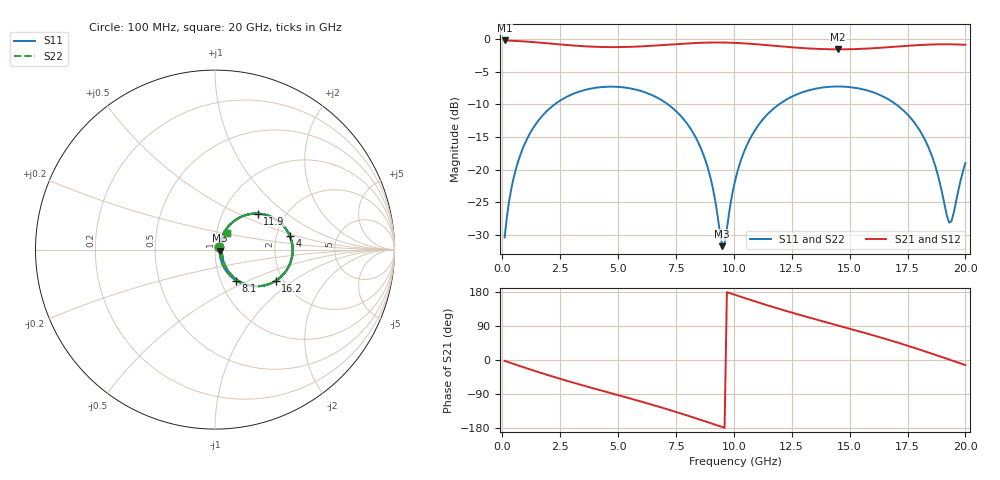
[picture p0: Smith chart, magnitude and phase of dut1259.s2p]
! Touchstone file exported from HFSS 2026.1.0
!  File:  C:/ffzhzh/LocalFiles/Ansys_Project_Files/temp_train_TSV_RDL_1259_1783326795_38820.aedt
!  Generated:  04:46:26 PM Jul  6, 2026
!  Design:  TSV_RDL
!  Project:  temp_train_TSV_RDL_1259_1783326795_38820
! Variables:
!  h_bsmrdl = 5.13um
!  h_ox = 20um
!  h_rdl = 5um
!  h_sub = 83.39um
!  h_tmrdl = 4.64um
!  h_tsv = 83.39um
!  h_via = 3um
!  l_bsmrdl = 974.79um
!  l_sub = 5953.79um
!  l_tmrdl = 631.45um
!  m_sub = 200um
!  pitch = 39.66um
!  r_tsv = 14.66um
!  s_tmrdl = 10um
!  w_bsmrdl = 14.34um
!  w_sub = 500um
!  w_tmrdl = 20.2um
!  x_tsv_center1 = 641.55um
!  x_tsv_center2 = 1630.68um
!  x_tsv_center3 = 2282.33um
!  x_tsv_center4 = 3271.46um
!  x_tsv_center5 = 3923.11um
!  x_tsv_center6 = 4912.24um
# GHz S MA R 50.000000
! Terminal data exported
! Port[1] = TM_RDL1_1_T1
! Port[2] = TM_RDL5_1_T1
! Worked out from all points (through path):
!   200 points, 100 MHz to 20 GHz, reference 50 ohm
!   highest |S21| = -0.22 dB at 100 MHz (marker M1); lowest = -1.6 dB at 14.5 GHz (marker M2)
!   group delay of S21, straight-line fit = 51.2 ps
!   lowest |S11| = -31.7 dB at 9.5 GHz (marker M3), VSWR 1.05, Z = 52.6 - j0.595 ohm
!   |S11| at or under -10 dB: start of sweep to 2.263 GHz; 7.153 GHz to 11.95 GHz (4.799 GHz wide, 50.2 % of centre); 17.01 GHz to end of sweep
!   |S22| runs from -31.7 to -7.3 dB; largest |S21 - S12| = 1.6e-14
!   S11 on the Smith chart (normalised r, x): 100 MHz: 1.05, +0.04; 4 GHz: 2.36, +0.44; 8.1 GHz: 1.18, -0.43; 11.9 GHz: 1.45, +0.65; 16.2 GHz: 1.82, -0.74; 20 GHz: 1.12, +0.21
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0.1  0.03024 34.4  0.9756 -2.2  0.9756 -2.2  0.03024 34.4
! Gamma 0 0 0 0
! Port Impedance 50 0 50 0
0.5  0.08791 61.0  0.9688 -10.6  0.9688 -10.6  0.08791 61.0
1.1  0.1762 57.6  0.9551 -22.8  0.9551 -22.8  0.1762 57.6
2.1  0.2999 41.9  0.9227 -42.3  0.9227 -42.3  0.2999 41.9
3.5  0.4047 18.6  0.8813 -67.4  0.8813 -67.4  0.4047 18.6
4  0.4228 10.5  0.8726 -75.9  0.8726 -75.9  0.4227 10.5
5.5  0.4196 -13.4  0.8714 -101.1  0.8714 -101.1  0.4196 -13.4
6.8  0.3474 -34.6  0.8963 -124.0  0.8963 -124.0  0.3473 -34.6
8.1  0.2099 -55.6  0.9283 -148.6  0.9283 -148.6  0.2098 -55.5
8.9  0.09977 -63.3  0.94 -164.7  0.94 -164.7  0.09973 -63.2
9.5  0.02595 -12.6  0.9407 -176.9  0.9407 -176.9  0.02606 -12.3
9.6  0.02706 18.9  0.9401 -179.0  0.9401 -179.0  0.02722 19.0
10.1  0.08879 61.8  0.9339 170.9  0.9339 170.9  0.08889 61.8
10.8  0.1858 57.0  0.9177 156.9  0.9177 156.9  0.1858 57.1
11.9  0.3115 40.1  0.8834 135.9  0.8834 135.9  0.3115 40.2
13.4  0.412 16.2  0.8443 109.5  0.8443 109.5  0.412 16.3
14.5  0.4333 -0.9  0.8342 91.0  0.8342 91.0  0.4333 -0.8
16.2  0.3801 -27.4  0.8544 61.9  0.8544 61.9  0.3801 -27.2
16.7  0.3435 -35.3  0.8665 52.9  0.8665 52.9  0.3435 -35.1
18.3  0.1629 -57.5  0.905 21.9  0.905 21.9  0.163 -57.2
19.3  0.03931 -9.3  0.9119 1.3  0.9119 1.3  0.04002 -8.9
20  0.1121 54.2  0.9036 -13.3  0.9036 -13.3  0.1124 54.0
